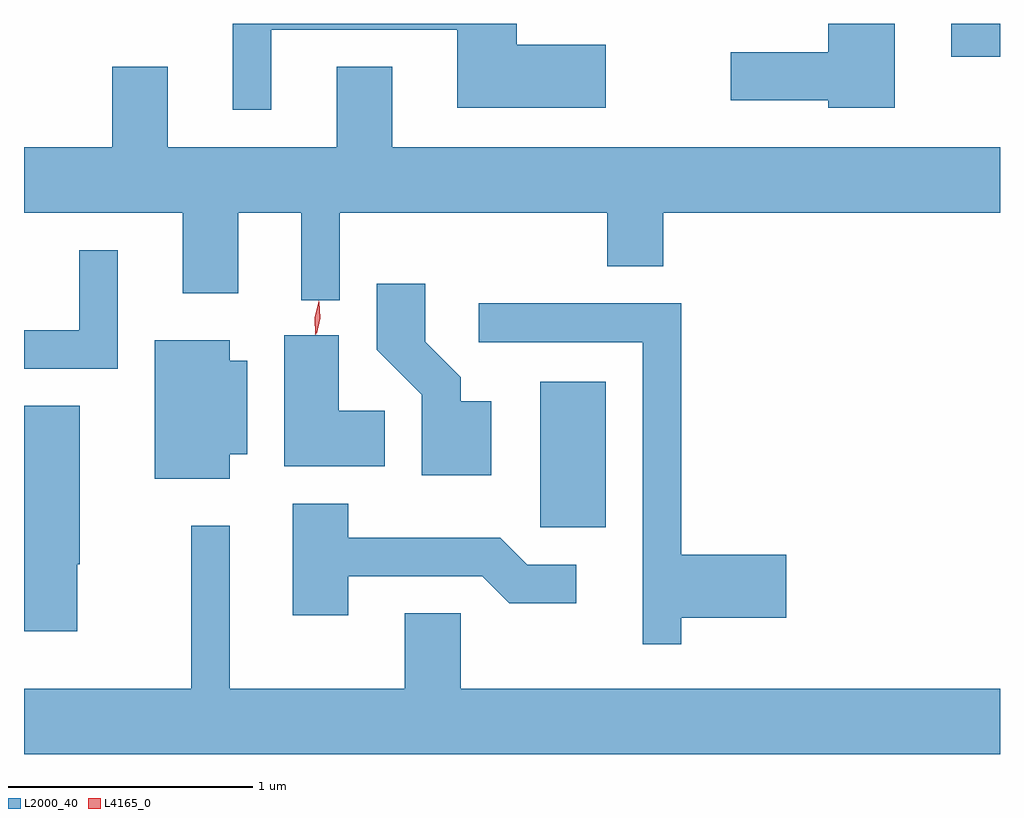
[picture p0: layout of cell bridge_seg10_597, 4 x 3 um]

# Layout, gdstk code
import gdstk
lib = gdstk.Library(unit=1e-6, precision=1e-09)
def R(c, l, rs):  # rectangles x0, y0, x1, y1
    for r in rs: c.add(gdstk.rectangle(r[:2], r[2:], *l))
def P(c, l, *ps):  # polygons
    for p in ps: c.add(gdstk.Polygon(p, *l))
L2000_40 = (2000, 40)
L4165_0 = (4165, 0)

bridge_seg10_597 = lib.new_cell('bridge_seg10_597')
R(bridge_seg10_597, L2000_40, [(679.206,2145.926,679.474,2146.524), (680.891,2147.856,681.09,2147.991)])
P(bridge_seg10_597, L2000_40, [(678.104,2147.966),(678.866,2147.966),(678.866,2147.646),(679.474,2147.646),(679.474,2147.904),(679.109,2147.904),(679.109,2147.991),(677.946,2147.991),(677.946,2147.638),(678.104,2147.638)],
  [(680.659,2147.991),(680.386,2147.991),(680.386,2147.874),(679.986,2147.874),(679.986,2147.676),(680.386,2147.676),(680.386,2147.646),(680.659,2147.646)],
  [(678.384,2147.216),(679.481,2147.216),(679.481,2146.996),(679.709,2146.996),(679.709,2147.216),(681.09,2147.216),(681.09,2147.484),(678.599,2147.484),(678.599,2147.814),(678.371,2147.814),(678.371,2147.484),(677.679,2147.484),(677.679,2147.814),(677.451,2147.814),(677.451,2147.484),(677.09,2147.484),(677.09,2147.216),(677.741,2147.216),(677.741,2146.886),(677.969,2146.886),(677.969,2147.216),(678.226,2147.216),(678.226,2146.858),(678.384,2146.858)],
  [(677.474,2147.063),(677.316,2147.063),(677.316,2146.734),(677.09,2146.734),(677.09,2146.576),(677.474,2146.576)],
  [(679.004,2146.444),(678.879,2146.444),(678.879,2146.542),(678.734,2146.687),(678.734,2146.924),(678.536,2146.924),(678.536,2146.654),(678.721,2146.469),(678.721,2146.141),(679.004,2146.141)],
  [(679.784,2145.556),(680.214,2145.556),(680.214,2145.814),(679.784,2145.814),(679.784,2146.844),(678.953,2146.844),(678.953,2146.686),(679.626,2146.686),(679.626,2145.448),(679.784,2145.448)],
  [(678.569,2146.404),(678.379,2146.404),(678.379,2146.714),(678.156,2146.714),(678.156,2146.176),(678.569,2146.176)],
  [(677.934,2146.226),(678.004,2146.226),(678.004,2146.609),(677.934,2146.609),(677.934,2146.694),(677.626,2146.694),(677.626,2146.126),(677.934,2146.126)],
  [(677.309,2145.775),(677.319,2145.775),(677.319,2146.424),(677.09,2146.424),(677.09,2145.501),(677.309,2145.501)],
  [(678.419,2145.726),(678.969,2145.726),(679.079,2145.616),(679.353,2145.616),(679.353,2145.774),(679.152,2145.774),(679.042,2145.884),(678.419,2145.884),(678.419,2146.024),(678.191,2146.024),(678.191,2145.566),(678.419,2145.566)],
  [(681.09,2145.264),(678.879,2145.264),(678.879,2145.574),(678.651,2145.574),(678.651,2145.264),(677.934,2145.264),(677.934,2145.933),(677.776,2145.933),(677.776,2145.264),(677.09,2145.264),(677.09,2144.996),(681.09,2144.996)])
P(bridge_seg10_597, L4165_0, [(678.285,2146.716),(678.284,2146.717),(678.282,2146.786),(678.297,2146.854),(678.298,2146.855),(678.298,2146.854),(678.301,2146.785),(678.285,2146.717)],
  [(678.29,2146.719),(678.289,2146.72),(678.286,2146.786),(678.3,2146.851),(678.301,2146.851),(678.301,2146.851),(678.305,2146.784),(678.29,2146.72)])

lib.write_gds('bridge_seg10_597.gds')
